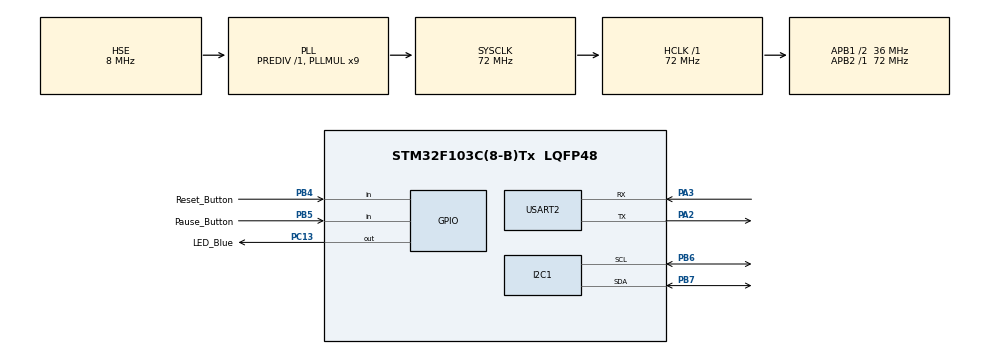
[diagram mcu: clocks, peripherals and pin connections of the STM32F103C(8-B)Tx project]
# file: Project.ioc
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I2C1.I2C_Mode=I2C_Fast
Mcu.Family=STM32F1
Mcu.Name=STM32F103C(8-B)Tx
Mcu.Package=LQFP48
NVIC.PriorityGroup=NVIC_PRIORITYGROUP_4
PA13.Mode=Serial_Wire
PA13.Signal=SYS_JTMS-SWDIO
PA14.Mode=Serial_Wire
PA14.Signal=SYS_JTCK-SWCLK
PA2.Mode=Asynchronous
PA2.Signal=USART2_TX
PA3.Mode=Asynchronous
PA3.Signal=USART2_RX
PB4.GPIO_Label=Reset_Button
PB4.GPIO_PuPd=GPIO_PULLUP
PB4.Signal=GPIO_Input
PB5.GPIO_Label=Pause_Button
PB5.GPIO_PuPd=GPIO_PULLUP
PB5.Signal=GPIO_Input
PB6.Mode=I2C
PB6.Signal=I2C1_SCL
PB7.Mode=I2C
PB7.Signal=I2C1_SDA
PC13-TAMPER-RTC.GPIO_Label=LED_Blue
PC13-TAMPER-RTC.Signal=GPIO_Output
PD0-OSC_IN.Mode=HSE-External-Oscillator
PD0-OSC_IN.Signal=RCC_OSC_IN
PD1-OSC_OUT.Mode=HSE-External-Oscillator
PD1-OSC_OUT.Signal=RCC_OSC_OUT
ProjectManager.HeapSize=0x200
ProjectManager.StackSize=0x400
ProjectManager.TargetToolchain=MDK-ARM V5.32
RCC.AHBFreq_Value=72000000
RCC.APB1CLKDivider=RCC_HCLK_DIV2
RCC.APB1Freq_Value=36000000
RCC.APB1TimFreq_Value=72000000
RCC.APB2Freq_Value=72000000
RCC.APB2TimFreq_Value=72000000
RCC.HCLKFreq_Value=72000000
RCC.PLLMUL=RCC_PLL_MUL9
RCC.PLLSourceVirtual=RCC_PLLSOURCE_HSE
RCC.SYSCLKFreq_VALUE=72000000
RCC.SYSCLKSource=RCC_SYSCLKSOURCE_PLLCLK
RCC.USBFreq_Value=72000000
USART2.VirtualMode=VM_ASYNC
board=custom

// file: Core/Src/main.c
/* USER CODE BEGIN Header */
/**
  ******************************************************************************
  * @file           : main.c
  * @brief          : Main program body
  ******************************************************************************
  * @attention
  *
  * Copyright (c) 2023 STMicroelectronics.
  * All rights reserved.
  *
  * This software is licensed under terms that can be found in the LICENSE file
  * in the root directory of this software component.
  * If no LICENSE file comes with this software, it is provided AS-IS.
  *
  ******************************************************************************
  */
/* USER CODE END Header */
#include "main.h"

/* USER CODE BEGIN Includes */
//#include "i2c-lcd.c"
#include "fonts.h"
#include "ssd1306.h"
#include<stdio.h>
#include<math.h>
/* USER CODE END Includes */

I2C_HandleTypeDef hi2c1;

UART_HandleTypeDef huart2;

void SystemClock_Config(void);
static void MX_GPIO_Init(void);
static void MX_I2C1_Init(void);
static void MX_USART2_UART_Init(void);

/* USER CODE BEGIN 0 */

#define MPU6050_ADDR 								0xD0
#define MPU6050_RA_SMPLRT_DIV       0x19
#define MPU6050_RA_GYRO_CONFIG      0x1B
#define MPU6050_RA_ACCEL_CONFIG     0x1C
#define MPU6050_RA_ACCEL_XOUT_H     0x3B
#define MPU6050_RA_ACCEL_XOUT_L     0x3C
#define MPU6050_RA_ACCEL_YOUT_H     0x3D
#define MPU6050_RA_ACCEL_YOUT_L     0x3E
#define MPU6050_RA_ACCEL_ZOUT_H     0x3F
#define MPU6050_RA_ACCEL_ZOUT_L     0x40
#define MPU6050_RA_TEMP_OUT_H       0x41
#define MPU6050_RA_TEMP_OUT_L       0x42
#define MPU6050_RA_GYRO_XOUT_H      0x43
#define MPU6050_RA_GYRO_XOUT_L      0x44
#define MPU6050_RA_GYRO_YOUT_H      0x45
#define MPU6050_RA_GYRO_YOUT_L      0x46
#define MPU6050_RA_GYRO_ZOUT_H      0x47
#define MPU6050_RA_GYRO_ZOUT_L      0x48
#define MPU6050_RA_PWR_MGMT_1       0x6B
#define MPU6050_RA_WHO_AM_I         0x75
#define g 													9.81
char buff[5];
float Ax, Ay, Az, Gx, Gy, Gz, Acc, prevAcc = 10.5;
int step = 0;
int state = 0;
uint32_t blinkTimer = 0;
uint32_t blinkDelay = 500;
uint32_t mpuTimer = 0;
uint32_t mpuDelay = 500;
// Define the button state
typedef enum {
  BUTTON_RELEASED,
  BUTTON_PRESSED
} ButtonState;

// Global variables
ButtonState buttonState = BUTTON_RELEASED;
uint8_t paused = 0;

void MPU6050_Init(void)
{
	uint8_t check, data;
	HAL_I2C_Mem_Read(&hi2c1, MPU6050_ADDR, MPU6050_RA_WHO_AM_I, 1, &check, 1, 1000);
	if (check == 104)
	{
		data = 0;
		HAL_I2C_Mem_Write(&hi2c1, MPU6050_ADDR, MPU6050_RA_PWR_MGMT_1, 1, &data, 1, 1000);
		data = 0x07;
		HAL_I2C_Mem_Write(&hi2c1, MPU6050_ADDR, MPU6050_RA_SMPLRT_DIV, 1, &data, 1, 1000);
		data = 0x00;
		HAL_I2C_Mem_Write(&hi2c1, MPU6050_ADDR, MPU6050_RA_ACCEL_CONFIG, 1, &data, 1, 1000);
		data = 0x00;
		HAL_I2C_Mem_Write(&hi2c1, MPU6050_ADDR, MPU6050_RA_GYRO_CONFIG, 1, &data, 1, 1000);
	}
}

void MPU6050_Read_Accel(void)
{
	uint8_t Rec_Data[6];
	int16_t Accel_X_Raw, Accel_Y_Raw, Accel_Z_Raw;
	//int16_t Ax, Ay, Az;

	HAL_I2C_Mem_Read(&hi2c1, MPU6050_ADDR, MPU6050_RA_ACCEL_XOUT_H, 1, Rec_Data, 6, 1000);
	Accel_X_Raw = (int16_t)(Rec_Data[0] << 8 | Rec_Data[1]);
	Accel_Y_Raw = (int16_t)(Rec_Data[2] << 8 | Rec_Data[3]);
	Accel_Z_Raw = (int16_t)(Rec_Data[4] << 8 | Rec_Data[5]);

	Ax = Accel_X_Raw*g/16384.0;
	Ay = Accel_Y_Raw*g/16384.0;
	Az = Accel_Z_Raw*g/16384.0;
}

void MPU6050_Read_Gyro(void)
{
	uint8_t Rec_Data[6];
	int16_t Gyro_X_Raw, Gyro_Y_Raw, Gyro_Z_Raw;
	//int16_t Gx, Gy, Gz;

	HAL_I2C_Mem_Read(&hi2c1, MPU6050_ADDR, MPU6050_RA_GYRO_XOUT_H, 1, Rec_Data, 6, 1000);
	Gyro_X_Raw = (int16_t)(Rec_Data[0] << 8 | Rec_Data[1]);
	Gyro_Y_Raw = (int16_t)(Rec_Data[2] << 8 | Rec_Data[3]);
	Gyro_Z_Raw = (int16_t)(Rec_Data[4] << 8 | Rec_Data[5]);

	Gx = Gyro_X_Raw/131.0;
	Gy = Gyro_Y_Raw/131.0;
	Gz = Gyro_Z_Raw/131.0;
}

void Button_Handler(void) {
  if (paused == 0) {
    // Pause the system
    paused = 1;
    SSD1306_GotoXY (65, 51);
		SSD1306_Puts("Paused ", &Font_7x10, 1);
		SSD1306_UpdateScreen();
  } else {
    // Unpause the system
    paused = 0;
    SSD1306_GotoXY (65, 51);
		SSD1306_Puts("Running", &Font_7x10, 1);
		SSD1306_UpdateScreen();
  }
}
// Button interrupt callback
void HAL_GPIO_EXTI_Callback(uint16_t GPIO_Pin) {
  if (GPIO_Pin == Pause_Button_Pin) {
    Button_Handler();
  }
}

// Button interrupt handler
void EXTI0_IRQHandler(void) {
  HAL_GPIO_EXTI_IRQHandler(Pause_Button_Pin);
}
/* USER CODE END 0 */

int main(void)
{

  /* MCU Configuration--------------------------------------------------------*/

  /* Reset of all peripherals, Initializes the Flash interface and the Systick. */
  HAL_Init();

  /* Configure the system clock */
  SystemClock_Config();

  /* Initialize all configured peripherals */
  MX_GPIO_Init();
  MX_I2C1_Init();
  MX_USART2_UART_Init();
  /* USER CODE BEGIN 2 */
	MPU6050_Init();
	SSD1306_Init();
  SSD1306_GotoXY (13,23);
  SSD1306_Puts ("Loading", &Font_11x18, 1);
	SSD1306_UpdateScreen();
	HAL_Delay (500);
	SSD1306_Puts (".", &Font_11x18, 1);
	SSD1306_UpdateScreen();
	HAL_Delay (500);
	SSD1306_Puts (".", &Font_11x18, 1);
	SSD1306_UpdateScreen();
	HAL_Delay (500);
	SSD1306_Puts (".", &Font_11x18, 1);
	SSD1306_UpdateScreen();
	HAL_Delay (500);
  SSD1306_Clear();
	SSD1306_GotoXY (0, 0);
	SSD1306_Puts ("Acc", &Font_7x10, 1);
	SSD1306_GotoXY (65, 0);
	SSD1306_Puts ("Details", &Font_7x10, 1);
	SSD1306_UpdateScreen();
	int button_check = 0;
	HAL_NVIC_SetPriority(EXTI0_IRQn, 0, 0);
  HAL_NVIC_EnableIRQ(EXTI0_IRQn);
  /* USER CODE END 2 */

  /* Infinite loop */
  /* USER CODE BEGIN WHILE */
  while (1)
  {
		if (HAL_GetTick() - blinkTimer >= blinkDelay)
    {
      // Toggle the LED state
      HAL_GPIO_TogglePin(LED_Blue_GPIO_Port, LED_Blue_Pin);

      // Update the blink timer
      blinkTimer = HAL_GetTick();
    }
    if (HAL_GPIO_ReadPin(GPIOB, Pause_Button_Pin) == 1) {
			if (buttonState == BUTTON_RELEASED) {
					buttonState = BUTTON_PRESSED;
					Button_Handler();
				}
    }	 else {
      if (buttonState == BUTTON_PRESSED) {
        buttonState = BUTTON_RELEASED;
      }
    }
		if (HAL_GPIO_ReadPin(Reset_Button_GPIO_Port,Reset_Button_Pin) == 0) {
			step = 0;
		}
		if (HAL_GetTick() - mpuTimer >= mpuDelay) {
		MPU6050_Read_Accel();
		MPU6050_Read_Gyro();
		Acc = sqrt(Ax*Ax + Ay*Ay + Az*Az);
		sprintf(buff, "x:%.2f", Ax);
		SSD1306_GotoXY (0, 17);
		SSD1306_Puts (buff, &Font_7x10, 1);
		sprintf(buff, "y:%.2f", Ay);
		SSD1306_GotoXY (0, 34);
		SSD1306_Puts (buff, &Font_7x10, 1);
		sprintf(buff, "z:%.2f", Az);
		SSD1306_GotoXY (0, 51);
		SSD1306_Puts (buff, &Font_7x10, 1);
		sprintf(buff, "Acc:%.2f", Acc);
		SSD1306_GotoXY (65, 17);
		SSD1306_Puts (buff, &Font_7x10, 1);
		if ((Acc - prevAcc > 8) || (prevAcc - Acc > 8))
		{
			if (paused == 0) {
			step++;
			}
		}
		sprintf(buff, "step:%d", step);
		SSD1306_GotoXY (65, 34);
		SSD1306_Puts (buff, &Font_7x10, 1);

		SSD1306_UpdateScreen();
		mpuTimer = HAL_GetTick();
		}
		//HAL_Delay (100);
    /* USER CODE END WHILE */

    /* USER CODE BEGIN 3 */
		prevAcc = Acc;
  }
  /* USER CODE END 3 */
}

void SystemClock_Config(void)
{
  RCC_OscInitTypeDef RCC_OscInitStruct = {0};
  RCC_ClkInitTypeDef RCC_ClkInitStruct = {0};

  /** Initializes the RCC Oscillators according to the specified parameters
  * in the RCC_OscInitTypeDef structure.
  */
  RCC_OscInitStruct.OscillatorType = RCC_OSCILLATORTYPE_HSE;
  RCC_OscInitStruct.HSEState = RCC_HSE_ON;
  RCC_OscInitStruct.HSEPredivValue = RCC_HSE_PREDIV_DIV1;
  RCC_OscInitStruct.HSIState = RCC_HSI_ON;
  RCC_OscInitStruct.PLL.PLLState = RCC_PLL_ON;
  RCC_OscInitStruct.PLL.PLLSource = RCC_PLLSOURCE_HSE;
  RCC_OscInitStruct.PLL.PLLMUL = RCC_PLL_MUL9;
  if (HAL_RCC_OscConfig(&RCC_OscInitStruct) != HAL_OK)
  {
    Error_Handler();
  }

  /** Initializes the CPU, AHB and APB buses clocks
  */
  RCC_ClkInitStruct.ClockType = RCC_CLOCKTYPE_HCLK|RCC_CLOCKTYPE_SYSCLK
                              |RCC_CLOCKTYPE_PCLK1|RCC_CLOCKTYPE_PCLK2;
  RCC_ClkInitStruct.SYSCLKSource = RCC_SYSCLKSOURCE_PLLCLK;
  RCC_ClkInitStruct.AHBCLKDivider = RCC_SYSCLK_DIV1;
  RCC_ClkInitStruct.APB1CLKDivider = RCC_HCLK_DIV2;
  RCC_ClkInitStruct.APB2CLKDivider = RCC_HCLK_DIV1;

  if (HAL_RCC_ClockConfig(&RCC_ClkInitStruct, FLASH_LATENCY_2) != HAL_OK)
  {
    Error_Handler();
  }
}

static void MX_I2C1_Init(void)
{

  hi2c1.Instance = I2C1;
  hi2c1.Init.ClockSpeed = 400000;
  hi2c1.Init.DutyCycle = I2C_DUTYCYCLE_2;
  hi2c1.Init.OwnAddress1 = 0;
  hi2c1.Init.AddressingMode = I2C_ADDRESSINGMODE_7BIT;
  hi2c1.Init.DualAddressMode = I2C_DUALADDRESS_DISABLE;
  hi2c1.Init.OwnAddress2 = 0;
  hi2c1.Init.GeneralCallMode = I2C_GENERALCALL_DISABLE;
  hi2c1.Init.NoStretchMode = I2C_NOSTRETCH_DISABLE;
  if (HAL_I2C_Init(&hi2c1) != HAL_OK)
  {
    Error_Handler();
  }

}

static void MX_USART2_UART_Init(void)
{

  huart2.Instance = USART2;
  huart2.Init.BaudRate = 115200;
  huart2.Init.WordLength = UART_WORDLENGTH_8B;
  huart2.Init.StopBits = UART_STOPBITS_1;
  huart2.Init.Parity = UART_PARITY_NONE;
  huart2.Init.Mode = UART_MODE_TX_RX;
  huart2.Init.HwFlowCtl = UART_HWCONTROL_NONE;
  huart2.Init.OverSampling = UART_OVERSAMPLING_16;
  if (HAL_UART_Init(&huart2) != HAL_OK)
  {
    Error_Handler();
  }

}

static void MX_GPIO_Init(void)
{
  GPIO_InitTypeDef GPIO_InitStruct = {0};

  /* GPIO Ports Clock Enable */
  __HAL_RCC_GPIOC_CLK_ENABLE();
  __HAL_RCC_GPIOD_CLK_ENABLE();
  __HAL_RCC_GPIOA_CLK_ENABLE();
  __HAL_RCC_GPIOB_CLK_ENABLE();

  /*Configure GPIO pin Output Level */
  HAL_GPIO_WritePin(LED_Blue_GPIO_Port, LED_Blue_Pin, GPIO_PIN_RESET);

  /*Configure GPIO pin : LED_Blue_Pin */
  GPIO_InitStruct.Pin = LED_Blue_Pin;
  GPIO_InitStruct.Mode = GPIO_MODE_OUTPUT_PP;
  GPIO_InitStruct.Pull = GPIO_NOPULL;
  GPIO_InitStruct.Speed = GPIO_SPEED_FREQ_LOW;
  HAL_GPIO_Init(LED_Blue_GPIO_Port, &GPIO_InitStruct);

  /*Configure GPIO pins : Reset_Button_Pin Pause_Button_Pin */
  GPIO_InitStruct.Pin = Reset_Button_Pin|Pause_Button_Pin;
  GPIO_InitStruct.Mode = GPIO_MODE_INPUT;
  GPIO_InitStruct.Pull = GPIO_PULLUP;
  HAL_GPIO_Init(GPIOB, &GPIO_InitStruct);

	HAL_NVIC_SetPriority(EXTI0_IRQn, 0, 0);
  HAL_NVIC_EnableIRQ(EXTI0_IRQn);
}

void Error_Handler(void)
{
  __disable_irq();
  while (1)
  {
  }
}
